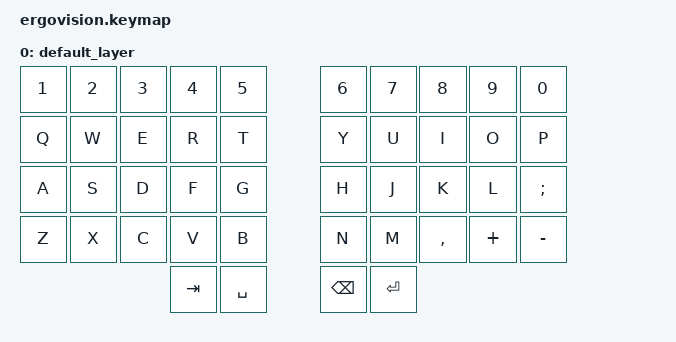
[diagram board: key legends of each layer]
/*
 * Copyright (c) 2020 ZMK Contributors
 *
 * SPDX-License-Identifier: MIT
 */


#include <behaviors.dtsi>
#include <dt-bindings/zmk/keys.h>
#include <dt-bindings/zmk/bt.h>

/ {
	keymap {
		compatible = "zmk,keymap";

		default_layer {
// --------------------------------------------------------------------------------------------
// |  Q  |  W  |  E   |  R   |  T   |                   |  Y   |  U    |  I    |  O   |   P   |
// |  A  |  S  |  D   |  F   |  G   |                   |  H   |  J    |  K    |  L   |   ;   |
// |  Z  |  X  |  C   |  V   |  B   |                   |  N   |  M    |  ,    | CLR  | SEL 0 |
//                    | SPCE | TAB  |                   | ENTR | BKSP  |
			bindings = <
&kp N1	  &kp N2   &kp N3    &kp N4    &kp N5					 &kp N6    &kp N7   &kp N8    &kp N9    &kp N0		
&kp Q     &kp W    &kp E     &kp R     &kp T                     &kp Y     &kp U    &kp I     &kp O     &kp P    
&kp A     &kp S    &kp D     &kp F     &kp G                     &kp H     &kp J    &kp K     &kp L     &kp SEMI 
&kp Z     &kp X    &kp C     &kp V     &kp B                     &kp N     &kp M    &kp COMMA &kp PLUS &kp MINUS
                             &kp TAB &kp SPACE                   &kp BKSP &kp ENTER 
			>;
		};
	};
}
